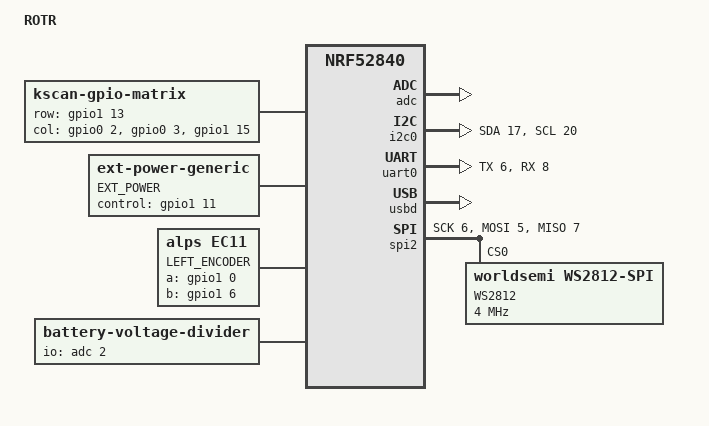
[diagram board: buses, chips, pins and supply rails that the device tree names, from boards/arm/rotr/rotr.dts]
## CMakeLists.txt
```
cmake_minimum_required(VERSION 3.13.1)

set(CONFIG_APPLICATION_DEFINED_SYSCALL true)

set(ZEPHYR_EXTRA_MODULES "${ZMK_EXTRA_MODULES};${CMAKE_CURRENT_SOURCE_DIR}/module;${CMAKE_CURRENT_SOURCE_DIR}/keymap-module")

# Find Zephyr. This also loads Zephyr's build system.
find_package(Zephyr REQUIRED HINTS ../zephyr)
project(zmk)

zephyr_linker_sources(SECTIONS include/linker/zmk-behaviors.ld)
zephyr_linker_sources(RODATA include/linker/zmk-events.ld)

if(CONFIG_ZMK_BEHAVIOR_LOCAL_IDS)
  zephyr_linker_sources(DATA_SECTIONS include/linker/zmk-behavior-local-id-map.ld)
endif()

zephyr_syscall_header(${APPLICATION_SOURCE_DIR}/include/drivers/behavior.h)
zephyr_syscall_header(${APPLICATION_SOURCE_DIR}/include/drivers/ext_power.h)

# Add your source file to the "app" target. This must come after
# find_package(Zephyr) which defines the target.
target_include_directories(app PRIVATE include)
target_sources(app PRIVATE src/stdlib.c)
target_sources(app PRIVATE src/activity.c)
target_sources(app PRIVATE src/behavior.c)
target_sources_ifdef(CONFIG_ZMK_KSCAN_SIDEBAND_BEHAVIORS app PRIVATE src/kscan_sideband_behaviors.c)
target_sources(app PRIVATE src/matrix_transform.c)
target_sources(app PRIVATE src/physical_layouts.c)
target_sources(app PRIVATE src/sensors.c)
target_sources_ifdef(CONFIG_ZMK_WPM app PRIVATE src/wpm.c)
target_sources(app PRIVATE src/event_manager.c)
target_sources_ifdef(CONFIG_ZMK_PM app PRIVATE src/pm.c)
target_sources_ifdef(CONFIG_ZMK_EXT_POWER app PRIVATE src/ext_power_generic.c)
target_sources_ifdef(CONFIG_ZMK_GPIO_KEY_WAKEUP_TRIGGER app PRIVATE src/gpio_key_wakeup_trigger.c)
target_sources(app PRIVATE src/events/activity_state_changed.c)
target_sources(app PRIVATE src/events/position_state_changed.c)
target_sources(app PRIVATE src/events/sensor_event.c)
target_sources(app PRIVATE src/events/mouse_button_state_changed.c)
target_sources_ifdef(CONFIG_ZMK_WPM app PRIVATE src/events/wpm_state_changed.c)
target_sources_ifdef(CONFIG_USB_DEVICE_STACK app PRIVATE src/events/usb_conn_state_changed.c)
target_sources(app PRIVATE src/behaviors/behavior_reset.c)
target_sources_ifdef(CONFIG_ZMK_EXT_POWER app PRIVATE src/behaviors/behavior_ext_power.c)
target_sources_ifdef(CONFIG_ZMK_BEHAVIOR_SOFT_OFF app PRIVATE src/behaviors/behavior_soft_off.c)
if ((NOT CONFIG_ZMK_SPLIT) OR CONFIG_ZMK_SPLIT_ROLE_CENTRAL)
  target_sources(app PRIVATE src/hid.c)
  target_sources_ifdef(CONFIG_ZMK_MOUSE app PRIVATE src/mouse.c)
  target_sources(app PRIVATE src/behaviors/behavior_key_press.c)
  target_sources_ifdef(CONFIG_ZMK_BEHAVIOR_KEY_TOGGLE app PRIVATE src/behaviors/behavior_key_toggle.c)
  target_sources_ifdef(CONFIG_ZMK_BEHAVIOR_HOLD_TAP app PRIVATE src/behaviors/behavior_hold_tap.c)
  target_sources_ifdef(CONFIG_ZMK_BEHAVIOR_STICKY_KEY app PRIVATE src/behaviors/behavior_sticky_key.c)
  target_sources(app PRIVATE src/behaviors/behavior_caps_word.c)
  target_sources(app PRIVATE src/behaviors/behavior_key_repeat.c)
  target_sources_ifdef(CONFIG_ZMK_BEHAVIOR_MACRO app PRIVATE src/behaviors/behavior_macro.c)
  target_sources(app PRIVATE src/behaviors/behavior_momentary_layer.c)
  target_sources(app PRIVATE src/behaviors/behavior_mod_morph.c)
  target_sources(app PRIVATE src/behaviors/behavior_outputs.c)
  target_sources(app PRIVATE src/behaviors/behavior_toggle_layer.c)
  target_sources(app PRIVATE src/behaviors/behavior_to_layer.c)
  target_sources(app PRIVATE src/behaviors/behavior_transparent.c)
  target_sources(app PRIVATE src/behaviors/behavior_none.c)
  target_sources_ifdef(CONFIG_ZMK_BEHAVIOR_SENSOR_ROTATE app PRIVATE src/behaviors/behavior_sensor_rotate.c)
  target_sources_ifdef(CONFIG_ZMK_BEHAVIOR_SENSOR_ROTATE_VAR app PRIVATE src/behaviors/behavior_sensor_rotate_var.c)
  target_sources_ifdef(CONFIG_ZMK_BEHAVIOR_SENSOR_ROTATE_COMMON app PRIVATE src/behaviors/behavior_sensor_rotate_common.c)
  target_sources_ifdef(CONFIG_ZMK_BEHAVIOR_MOUSE_KEY_PRESS app PRIVATE src/behaviors/behavior_mouse_key_press.c)
  target_sources_ifdef(CONFIG_ZMK_BEHAVIOR_STUDIO_UNLOCK app PRIVATE src/behaviors/behavior_studio_unlock.c)
  target_sources(app PRIVATE src/combo.c)
  target_sources(app PRIVATE src/behaviors/behavior_tap_dance.c)
  target_sources(app PRIVATE src/behavior_queue.c)
  target_sources(app PRIVATE src/conditional_layer.c)
  target_sources(app PRIVATE src/endpoints.c)
  target_sources(app PRIVATE src/events/endpoint_changed.c)
  target_sources(app PRIVATE src/hid_listener.c)
  target_sources(app PRIVATE src/keymap.c)
  target_sources(app PRIVATE src/events/layer_state_changed.c)
  target_sources(app PRIVATE src/events/modifiers_state_changed.c)
  target_sources(app PRIVATE src/events/keycode_state_changed.c)
  target_sources_ifdef(CONFIG_ZMK_HID_INDICATORS app PRIVATE src/hid_indicators.c)

  if (CONFIG_ZMK_BLE)
    target_sources(app PRIVATE src/events/ble_active_profile_changed.c)
    target_sources(app PRIVATE src/behaviors/behavior_bt.c)
    target_sources(app PRIVATE src/ble.c)
    target_sources(app PRIVATE src/hog.c)
  endif()
endif()

target_sources_ifdef(CONFIG_ZMK_RGB_UNDERGLOW app PRIVATE src/behaviors/behavior_rgb_underglow.c)
target_sources_ifdef(CONFIG_ZMK_BACKLIGHT app PRIVATE src/behaviors/behavior_backlight.c)
target_sources_ifdef(CONFIG_ZMK_STP_INDICATORS app PRIVATE src/behaviors/behavior_stp_indicators.c)

target_sources_ifdef(CONFIG_ZMK_BATTERY_REPORTING app PRIVATE src/events/battery_state_changed.c)
target_sources_ifdef(CONFIG_ZMK_BATTERY_REPORTING app PRIVATE src/battery.c)

target_sources_ifdef(CONFIG_ZMK_HID_INDICATORS app PRIVATE src/events/hid_indicators_changed.c)

target_sources_ifdef(CONFIG_ZMK_SPLIT app PRIVATE src/events/split_peripheral_status_changed.c)
add_subdirectory(src/split)

target_sources_ifdef(CONFIG_USB_DEVICE_STACK app PRIVATE src/usb.c)
target_sources_ifdef(CONFIG_ZMK_USB app PRIVATE src/usb_hid.c)
target_sources_ifdef(CONFIG_ZMK_RGB_UNDERGLOW app PRIVATE src/rgb_underglow.c)
target_sources_ifdef(CONFIG_ZMK_BACKLIGHT app PRIVATE src/backlight.c)
target_sources_ifdef(CONFIG_ZMK_LOW_PRIORITY_WORK_QUEUE app PRIVATE src/workqueue.c)
target_sources_ifdef(CONFIG_ZMK_PROFILESWITCH app PRIVATE src/profile_switch.c)

target_sources_ifdef(CONFIG_ZMK_STP_INDICATORS app PRIVATE src/stp_indicators.c)
target_sources(app PRIVATE src/main.c)

add_subdirectory(src/display/)
add_subdirectory_ifdef(CONFIG_SETTINGS src/settings/)

if (CONFIG_ZMK_STUDIO_RPC)
  # For some reason this is failing if run from a different sub-file.
  list(APPEND CMAKE_MODULE_PATH ${ZEPHYR_BASE}/modules/nanopb)

  include(nanopb)

    # Turn off the default nanopb behavior
  set(NANOPB_GENERATE_CPP_STANDALONE OFF)

  nanopb_generate_cpp(proto_srcs proto_hdrs RELPATH ${ZEPHYR_ZMK_STUDIO_MESSAGES_MODULE_DIR}
                        ${ZEPHYR_ZMK_STUDIO_MESSAGES_MODULE_DIR}/proto/zmk/studio.proto
                        ${ZEPHYR_ZMK_STUDIO_MESSAGES_MODULE_DIR}/proto/zmk/meta.proto
                        ${ZEPHYR_ZMK_STUDIO_MESSAGES_MODULE_DIR}/proto/zmk/core.proto
                        ${ZEPHYR_ZMK_STUDIO_MESSAGES_MODULE_DIR}/proto/zmk/behaviors.proto
                        ${ZEPHYR_ZMK_STUDIO_MESSAGES_MODULE_DIR}/proto/zmk/keymap.proto
  )

  target_include_directories(app PUBLIC ${CMAKE_CURRENT_BINARY_DIR})
  target_sources(app PRIVATE ${proto_srcs} ${proto_hdrs})

  add_subdirectory(src/studio)
endif()

zephyr_cc_option(-Wfatal-errors)
```

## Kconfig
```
# Copyright (c) 2020 The ZMK Contributors
# SPDX-License-Identifier: MIT

mainmenu "ZMK Firmware"

menu "ZMK"

menu "Basic Keyboard Setup"

config ZMK_KEYBOARD_NAME
    string "Keyboard Name"

config USB_DEVICE_PRODUCT
    default ZMK_KEYBOARD_NAME

config BT_DEVICE_NAME
    default ZMK_KEYBOARD_NAME

config USB_DEVICE_VID
    default 0x1D50

config USB_DEVICE_PID
    default 0x615E

config USB_DEVICE_MANUFACTURER
    default "ZMK Project"

config BT_DIS_PNP_VID
    default 0x1D50

config BT_DIS_PNP_PID
    default 0x615E

config BT_DIS_MODEL
    default ZMK_KEYBOARD_NAME

config BT_DIS_MANUF
    default "ZMK Project"

# Hardware specific overrides

if SOC_SERIES_NRF52X

# Default on for our usage until boards implement retained bootmode.
config NRF_STORE_REBOOT_TYPE_GPREGRET
    bool
    default y

endif

menu "HID"

choice ZMK_HID_REPORT_TYPE
    prompt "HID Report Type"

config ZMK_HID_REPORT_TYPE_HKRO
    bool "#-Key Roll Over (HKRO) HID Report"
    help
      Enable # key roll over for HID report. This selection is "boot keyboard" compatible
      but limits the total number of possible keys to report as held to #.

config ZMK_HID_REPORT_TYPE_NKRO
    bool "Full N-Key Roll Over (NKRO) HID Report"
    help
      Enable full N-Key Roll Over for HID output. This selection will prevent the keyboard
      from working with some BIOS/UEFI versions that only support "boot keyboard" support.
      This option also prevents using some infrequently used higher range HID usages (notably F13-F24 and INTL1-9)
      These usages can be re enabled with ZMK_HID_KEYBOARD_NKRO_EXTENDED_REPORT.

endchoice

config ZMK_HID_KEYBOARD_NKRO_EXTENDED_REPORT
    bool "Enable extended NKRO reporting"
    depends on ZMK_HID_REPORT_TYPE_NKRO
    help
      Enables higher usage range for NKRO (F13-F24 and INTL1-9).
      Please note this is not compatible with Android currently and you will get no input


if ZMK_HID_REPORT_TYPE_HKRO

config ZMK_HID_KEYBOARD_REPORT_SIZE
    int "# Keyboard Keys Reportable"
    default 6

endif

config ZMK_HID_CONSUMER_REPORT_SIZE
    int "# Consumer Keys Reportable"
    default 6


choice ZMK_HID_CONSUMER_REPORT_USAGES
    prompt "HID Report Type"

config ZMK_HID_CONSUMER_REPORT_USAGES_FULL
    bool "Full Consumer HID Usage Support"
    help
      Enable full Consumer usage ID values to be sent to hosts. Allows for less
      frequently used usages, but has compatibability issues with some host OSes.

config ZMK_HID_CONSUMER_REPORT_USAGES_BASIC
    bool "Basic Consumer HID Usage Support"
    help
      Enable Consumer usage ID values up to "Playback Speed - Slow" to be sent to
      hosts. Allows for broader compatibability with more host OSes.

endchoice

config ZMK_HID_INDICATORS
    bool "HID Indicators"
    help
      Enable HID indicators, used for detecting state of Caps/Scroll/Num Lock,
      Kata, and Compose.

config ZMK_HID_SEPARATE_MOD_RELEASE_REPORT
    bool "Release Modifiers Separately"
    help
      Send a separate release event for the modifiers, to make sure the release
      of the modifier doesn't get recognized before the actual key's release event.

menu "Output Types"

config ZMK_USB
    bool "USB"
    depends on (!ZMK_SPLIT || (ZMK_SPLIT && ZMK_SPLIT_ROLE_CENTRAL))
    select USB
    select USB_DEVICE_STACK
    select USB_DEVICE_HID

config ZMK_USB_BOOT
    bool "USB Boot Protocol Support"
    depends on ZMK_USB
    select USB_HID_BOOT_PROTOCOL
    select USB_DEVICE_SOF

if ZMK_USB

config USB_NUMOF_EP_WRITE_RETRIES
    default 10

config USB_HID_POLL_INTERVAL_MS
    default 1

#ZMK_USB
endif

menuconfig ZMK_BLE
    bool "BLE (HID over GATT)"
    select BT
    select BT_SMP
    select BT_SMP_SC_PAIR_ONLY
    select BT_SMP_APP_PAIRING_ACCEPT
    select BT_PERIPHERAL
    select BT_DIS
    imply BT_DEVICE_NAME_DYNAMIC
    imply BT_SETTINGS if !ARCH_POSIX
    imply SETTINGS if !ARCH_POSIX
    imply ZMK_BATTERY_REPORTING if !ARCH_POSIX

if ZMK_BLE

config ZMK_BLE_EXPERIMENTAL_CONN
    bool "Experimental BLE connection changes"
    help
      Enables a combination of settings that are planned to be default in future versions of ZMK
      to improve connection stability. This includes changes to timing on BLE pairing initiation,
      restores use of the updated/new LLCP implementation, and disables 2M PHY support.

config ZMK_BLE_EXPERIMENTAL_SEC
    bool "Experimental BLE security changes"
    imply BT_SMP_ALLOW_UNAUTH_OVERWRITE
    help
      Enables a combination of settings that are planned to be officially supported in the future.
      This includes enabling BT Secure Connection passkey entry, and allows overwrite of keys from
      previously paired hosts.

config ZMK_BLE_EXPERIMENTAL_FEATURES
    bool "Experimental BLE connection and security settings/features"
    select ZMK_BLE_EXPERIMENTAL_CONN
    select ZMK_BLE_EXPERIMENTAL_SEC
    help
      Enables experimental connection changes and security features.

config ZMK_BLE_PASSKEY_ENTRY
    bool "Require passkey entry on the keyboard to complete pairing"
    select RING_BUFFER

config BT_SMP_ALLOW_UNAUTH_OVERWRITE
    imply ZMK_BLE_PASSKEY_ENTRY

config BT_CTLR_PHY_2M
    default n if ZMK_BLE_EXPERIMENTAL_CONN

# BT_TINYCRYPT_ECC is required for BT_SMP_SC_PAIR_ONLY when using HCI
config BT_TINYCRYPT_ECC
    default y if BT_HCI && !BT_CTLR

config SYSTEM_WORKQUEUE_STACK_SIZE
    default 4096 if SOC_RP2040
    default 2048

config ZMK_BLE_THREAD_STACK_SIZE
    int "BLE notify thread stack size"
    default 768

config ZMK_BLE_THREAD_PRIORITY
    int "BLE notify thread priority"
    default 5

config ZMK_BLE_KEYBOARD_REPORT_QUEUE_SIZE
    int "Max number of keyboard HID reports to queue for sending over BLE"
    default 20

config ZMK_BLE_CONSUMER_REPORT_QUEUE_SIZE
    int "Max number of consumer HID reports to queue for sending over BLE"
    default 5

config ZMK_BLE_MOUSE_REPORT_QUEUE_SIZE
    int "Max number of mouse HID reports to queue for sending over BLE"
    default 20

config ZMK_BLE_CLEAR_BONDS_ON_START
    bool "Configuration that clears all bond information from the keyboard on startup."

# HID GATT notifications sent this way are *not* picked up by Linux, and possibly others.
config BT_GATT_NOTIFY_MULTIPLE
    default n

config BT_GATT_AUTO_SEC_REQ
    default (ZMK_SPLIT_BLE && !ZMK_SPLIT_ROLE_CENTRAL)

config BT_DEVICE_APPEARANCE
    default 961

config BT_PERIPHERAL_PREF_MIN_INT
    default 6

config BT_PERIPHERAL_PREF_MAX_INT
    default 12

config BT_PERIPHERAL_PREF_LATENCY
    default 30

config BT_PERIPHERAL_PREF_TIMEOUT
    default 400

config ZMK_PROFILESWITCH
    bool "Enable two state profile switch"
    default n

#ZMK_BLE
endif

#Output Types
endmenu

# HID
endmenu

rsource "src/split/Kconfig"

#Basic Keyboard Setup
endmenu

menu "Keymaps"

config ZMK_KEYMAP_LAYER_REORDERING
    bool "Layer Reordering Support"

config ZMK_KEYMAP_SETTINGS_STORAGE
    bool "Settings Save/Load"
    depends on SETTINGS
    depends on ZMK_BEHAVIOR_LOCAL_IDS

if ZMK_KEYMAP_SETTINGS_STORAGE

config ZMK_KEYMAP_LAYER_NAME_MAX_LEN
    int "Max Layer Name Length"
    default 20

endif

endmenu # Keymaps

rsource "src/studio/Kconfig"

menu "Display/LED Options"

rsource "src/display/Kconfig"

menuconfig ZMK_RGB_UNDERGLOW
    bool "RGB Addressable LED Underglow"
    select LED_STRIP
    select ZMK_LOW_PRIORITY_WORK_QUEUE

if ZMK_RGB_UNDERGLOW

# This default value cuts down on tons of excess .conf files, if you're using GPIO, manually disable this
config SPI
    default y

config ZMK_RGB_UNDERGLOW_EXT_POWER
    bool "RGB underglow toggling also controls external power"
    default y

config ZMK_RGB_UNDERGLOW_BRT_MIN
    int "RGB underglow minimum brightness in percent"
    range 0 100
    default 0

config ZMK_RGB_UNDERGLOW_BRT_MAX
    int "RGB underglow maximum brightness in percent"
    range ZMK_RGB_UNDERGLOW_BRT_MIN 100
    default 100

config ZMK_RGB_UNDERGLOW_HUE_STEP
    int "RGB underglow hue step in degrees"
    range 0 359
    default 10

config ZMK_RGB_UNDERGLOW_SAT_STEP
    int "RGB underglow saturation step in percent"
    range 0 100
    default 10

config ZMK_RGB_UNDERGLOW_BRT_STEP
    int "RGB underglow brightness step in percent"
    range 0 100
    default 10

config ZMK_RGB_UNDERGLOW_HUE_START
    int "RGB underglow start hue value in degrees"
    range 0 359
    default 0

config ZMK_RGB_UNDERGLOW_SAT_START
    int "RGB underglow start saturations value in percent"
    range 0 100
    default 100

config ZMK_RGB_UNDERGLOW_BRT_START
    int "RGB underglow start brightness value in percent"
    range ZMK_RGB_UNDERGLOW_BRT_MIN ZMK_RGB_UNDERGLOW_BRT_MAX
    default ZMK_RGB_UNDERGLOW_BRT_MAX

config ZMK_RGB_UNDERGLOW_SPD_START
    int "RGB underglow start animation speed value"
    range 1 5
    default 3

config ZMK_RGB_UNDERGLOW_EFF_START
    int "RGB underglow start effect int value related to the effect enum list"
    range 0 3
    default 0

config ZMK_RGB_UNDERGLOW_ON_START
    bool "RGB underglow starts on by default"
    default y

config ZMK_RGB_UNDERGLOW_AUTO_OFF_IDLE
    bool "Turn off RGB underglow when keyboard goes into idle state"

config ZMK_RGB_UNDERGLOW_AUTO_OFF_USB
    bool "Turn off RGB underglow when USB is disconnected"
    depends on USB_DEVICE_STACK

#ZMK_RGB_UNDERGLOW
endif

menuconfig ZMK_STP_INDICATORS
    bool "STP Specific indicators"
    select LED_STRIP
    select ZMK_LOW_PRIORITY_WORK_QUEUE
    select ZMK_HID_INDICATORS

if ZMK_STP_INDICATORS

# This default value cuts down on tons of excess .conf files, if you're using GPIO, manually disable this
config SPI
    default y

config ZMK_STP_INDICATORS_BRT_MAX
    int "RGB underglow maximum brightness in percent"
    range 0 100
    default 100

endif

menuconfig ZMK_BACKLIGHT
    bool "LED backlight"
    select LED

if ZMK_BACKLIGHT

config ZMK_BACKLIGHT_BRT_STEP
    int "Brightness step in percent"
    range 1 100
    default 20

config ZMK_BACKLIGHT_BRT_START
    int "Default brightness in percent"
    range 1 100
    default 40

config ZMK_BACKLIGHT_ON_START
    bool "Default backlight state"
    default y

config ZMK_BACKLIGHT_AUTO_OFF_IDLE
    bool "Turn off backlight when keyboard goes into idle state"

config ZMK_BACKLIGHT_AUTO_OFF_USB
    bool "Turn off backlight when USB is disconnected"

#ZMK_BACKLIGHT
endif

#Display/LED Options
endmenu

menu "Mouse Options"

config ZMK_MOUSE
    bool "Enable ZMK mouse emulation"

config ZMK_TRACKPAD
    bool "trackpad mode"

config ZMK_TRACKPAD_REVERSE_SCROLL
    bool "Reverse Scroll Direction"

#Mouse Options
endmenu

menu "Power Management"

config ZMK_BATTERY_REPORTING
    bool "Battery level detection/reporting"
    select SENSOR
    select ZMK_LOW_PRIORITY_WORK_QUEUE
    imply BT_BAS if ZMK_BLE

if ZMK_BATTERY_REPORTING

choice ZMK_BATTERY_REPORTING_FETCH_MODE
    prompt "Battery Reporting Fetch Mode"

config ZMK_BATTERY_REPORTING_FETCH_MODE_STATE_OF_CHARGE
    bool "State of charge"

config ZMK_BATTERY_REPORTING_FETCH_MODE_LITHIUM_VOLTAGE
    bool "Lithium Voltage"

endchoice
endif

config ZMK_IDLE_TIMEOUT
    int "Milliseconds of inactivity before entering idle state (OLED shutoff, etc)"
    default 30000

config ZMK_SLEEP
    bool "Enable deep sleep support"
    depends on HAS_POWEROFF
    select POWEROFF
    select ZMK_PM_DEVICE_SUSPEND_RESUME
    imply USB

if ZMK_SLEEP

config PM_DEVICE
    default y

config ZMK_IDLE_SLEEP_TIMEOUT
    int "Milliseconds of inactivity before entering deep sleep"
    default 900000

#ZMK_SLEEP
endif

config ZMK_EXT_POWER
    bool "Enable support to control external power output"
    default y

config ZMK_PM
    bool

config ZMK_PM_DEVICE_SUSPEND_RESUME
    bool
    select ZMK_PM

config ZMK_PM_SOFT_OFF
    bool "Soft-off support"
    depends on HAS_POWEROFF
    select ZMK_PM
    select PM_DEVICE
    select ZMK_PM_DEVICE_SUSPEND_RESUME
    select POWEROFF

config ZMK_GPIO_KEY_WAKEUP_TRIGGER
    bool "Hardware supported wakeup (GPIO)"
    default y
    depends on DT_HAS_ZMK_GPIO_KEY_WAKEUP_TRIGGER_ENABLED && ZMK_PM_SOFT_OFF

#Power Management
endmenu

menu "Combo options"

config ZMK_COMBO_MAX_PRESSED_COMBOS
    int "Maximum number of currently pressed combos"
    default 4

config ZMK_COMBO_MAX_COMBOS_PER_KEY
    int "Maximum number of combos per key"
    default 5

config ZMK_COMBO_MAX_KEYS_PER_COMBO
    int "Maximum number of keys per combo"
    default 4

#Combo options
endmenu

menu "Behavior Options"

config ZMK_BEHAVIORS_QUEUE_SIZE
    int "Maximum number of behaviors to allow queueing from a macro or other complex behavior"
    default 64

rsource "Kconfig.behaviors"

config ZMK_MACRO_DEFAULT_WAIT_MS
    int "Default time to wait (in milliseconds) before triggering the next behavior in macros"
    default 15

config ZMK_MACRO_DEFAULT_TAP_MS
    int "Default time to wait (in milliseconds) between the press and release events of a tapped behavior in macros"
    default 30

endmenu

menu "Advanced"

menu "Initialization Priorities"

if USB_DEVICE_STACK

config ZMK_USB_INIT_PRIORITY
    int "USB Init Priority"
    default 94

config ZMK_USB_HID_INIT_PRIORITY
    int "USB HID Init Priority"
    default 95

#USB
endif

if ZMK_BLE || ZMK_SPLIT_BLE

config ZMK_BLE_INIT_PRIORITY
    int "BLE Init Priority"
    default 50

#ZMK_BLE || ZMK_SPLIT_BLE
endif

#Initialization Priorities
endmenu

menuconfig ZMK_KSCAN
    bool "ZMK KScan Integration"
    default y
    select KSCAN

if ZMK_KSCAN

config ZMK_KSCAN_EVENT_QUEUE_SIZE
    int "Size of the event queue for KSCAN events to buffer events"
    default 4

endif # ZMK_KSCAN

config ZMK_KSCAN_SIDEBAND_BEHAVIORS
    bool
    default y
    depends on DT_HAS_ZMK_KSCAN_SIDEBAND_BEHAVIORS_ENABLED
    select KSCAN

if ZMK_KSCAN_SIDEBAND_BEHAVIORS

config ZMK_KSCAN_SIDEBAND_BEHAVIORS_INIT_PRIORITY
    int "Keyboard scan sideband behaviors driver init priority"
    # The default kscan init priority is 90, so be sure we are initialized later.
    default 95

endif # ZMK_KSCAN_SIDEBAND_BEHAVIORS

menu "Logging"

config ZMK_LOGGING_MINIMAL
    bool "Suppress all ZMK debug log messages"
    default false

if !ZMK_LOGGING_MINIMAL

config ZMK_LOG_LEVEL
    default 4

endif

config ZMK_USB_LOGGING
    bool "Enable USB CDC ACM logging to help debug"
    select LOG
    select USB
    select USB_DEVICE_STACK
    select USB_CDC_ACM
    select SERIAL
    select CONSOLE
    select UART_INTERRUPT_DRIVEN
    select UART_LINE_CTRL
    select UART_CONSOLE
    select USB_UART_CONSOLE

if ZMK_USB_LOGGING

choice USB_CDC_ACM_LOG_LEVEL_CHOICE
    default USB_CDC_ACM_LOG_LEVEL_OFF
endchoice

choice USB_DRIVER_LOG_LEVEL_CHOICE
    default USB_DRIVER_LOG_LEVEL_OFF
endchoice

# We do this to avoid log loop where logging to USB generates more log messages.

config USB_CDC_ACM_RINGBUF_SIZE
    default 1024

config LOG_PROCESS_THREAD_STARTUP_DELAY_MS
    default 1000

#ZMK_USB_LOGGING
endif

config ZMK_RTT_LOGGING
    bool "Enable RTT logging to help debug"
    select LOG
    select DEBUG
    select ASSERT
    select USE_SEGGER_RTT
    select CONSOLE
    select RTT_CONSOLE

if ZMK_RTT_LOGGING

config SEGGER_RTT_BUFFER_SIZE_UP
    default 8192

#ZMK_RTT_LOGGING
endif

if ZMK_USB_LOGGING || ZMK_RTT_LOGGING

config LOG_BUFFER_SIZE
    default 8192

config LOG_PROCESS_THREAD_SLEEP_MS
    default 100

#ZMK_USB_LOGGING || ZMK_RTT_LOGGING
endif

#Logging
endmenu

if SETTINGS

config ZMK_SETTINGS_RESET_ON_START
    bool "Delete all persistent settings when the keyboard boots"

if ZMK_SETTINGS_RESET_ON_START

config ZMK_SETTINGS_RESET_ON_START_INIT_PRIORITY
    int "Settings Reset ON Start Initialization Priority"
    default 60
    help
      Initialization priority for the settings reset on start. Must be lower priority/
      higher value than FLASH_INIT_PRIORITY if using the NVS/Flash settings backend.


endif


config ZMK_SETTINGS_SAVE_DEBOUNCE
    int "Milliseconds to debounce settings saves"
    default 60000

#SETTINGS
endif

config ZMK_BATTERY_REPORT_INTERVAL
    depends on ZMK_BATTERY_REPORTING
    int "Battery level report interval in seconds"
    default 60

config ZMK_LOW_PRIORITY_WORK_QUEUE
    bool "Work queue for low priority items"

if ZMK_LOW_PRIORITY_WORK_QUEUE

config ZMK_LOW_PRIORITY_THREAD_STACK_SIZE
    int "Low priority thread stack size"
    default 1024

config ZMK_LOW_PRIORITY_THREAD_PRIORITY
    int "Low priority thread priority"
    default 10

endif

#Advanced
endmenu

#ZMK
endmenu

config KERNEL_BIN_NAME
    default "zmk"

config REBOOT
    default y

config USB_DEVICE_STACK
    default y if HAS_HW_NRF_USBD

config FPU
    default CPU_HAS_FPU

config ZMK_WPM
    bool "Calculate WPM"

config ZMK_KEYMAP_SENSORS
    bool "Enable Keymap Sensors support"
    default y
    depends on DT_HAS_ZMK_KEYMAP_SENSORS_ENABLED
    select SENSOR

if ZMK_KEYMAP_SENSORS

config ZMK_KEYMAP_SENSORS_DEFAULT_TRIGGERS_PER_ROTATION
    int "Default triggers per rotation"
    help
      Unless overridden for a sensor in the board/shield/devicetree, this value
      determines how many times to trigger the bound behavior per full rotation.
      For tactile encoders with detents, this usually should match the number of
      detents per rotation of the encoder.
    default 20

endif # ZMK_KEYMAP_SENSORS

choice CBPRINTF_IMPLEMENTATION
    default CBPRINTF_NANO

endchoice

module = ZMK
module-str = zmk
source "subsys/logging/Kconfig.template.log_config"

rsource "boards/Kconfig"
rsource "boards/shields/*/Kconfig.defconfig"
rsource "boards/shields/*/Kconfig.shield"

osource "$(ZMK_CONFIG)/boards/shields/*/Kconfig.defconfig"
osource "$(ZMK_CONFIG)/boards/shields/*/Kconfig.shield"


source "Kconfig.zephyr"
```

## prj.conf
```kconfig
# Turn on logging, and set ZMK logging to debug output
CONFIG_ZMK_USB_LOGGING=y
```

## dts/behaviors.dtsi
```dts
#include <behaviors/key_press.dtsi>
#include <behaviors/key_toggle.dtsi>
#include <behaviors/transparent.dtsi>
#include <behaviors/none.dtsi>
#include <behaviors/mod_tap.dtsi>
#include <behaviors/layer_tap.dtsi>
#include <behaviors/gresc.dtsi>
#include <behaviors/sticky_key.dtsi>
#include <behaviors/momentary_layer.dtsi>
#include <behaviors/toggle_layer.dtsi>
#include <behaviors/to_layer.dtsi>
#include <behaviors/reset.dtsi>
#include <behaviors/sensor_rotate_key_press.dtsi>
#include <behaviors/rgb_underglow.dtsi>
#include <behaviors/bluetooth.dtsi>
#include <behaviors/ext_power.dtsi>
#include <behaviors/outputs.dtsi>
#include <behaviors/caps_word.dtsi>
#include <behaviors/key_repeat.dtsi>
#include <behaviors/backlight.dtsi>
#include <behaviors/macros.dtsi>
#include <behaviors/mouse_key_press.dtsi>
#include <behaviors/soft_off.dtsi>
#include <behaviors/studio_unlock.dtsi>
#include <behaviors/stp_indicators.dtsi>
```

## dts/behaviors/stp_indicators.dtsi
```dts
/ {
    behaviors {
        stp: behavior_stp_indicators {
            compatible = "zmk,behavior-stp-indicators";
            display-name = "Battery Level";
            #binding-cells = <1>;
        };
    };
};
```

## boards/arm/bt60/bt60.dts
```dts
/*
 * Copyright (c) 2021 Polarity Works
 *
 * SPDX-License-Identifier: MIT
 */

/dts-v1/;
#include <nordic/nrf52840_qiaa.dtsi>
#include <dt-bindings/zmk/matrix_transform.h>

/ {
	model = "BT60";
	compatible = "bt60";

	chosen {
		zephyr,code-partition = &code_partition;
		zephyr,sram = &sram0;
		zephyr,flash = &flash0;
		zmk,kscan = &kscan0;
		zmk,matrix_transform = &default_transform;
	};

	default_transform: keymap_transform_0 {
		compatible = "zmk,matrix-transform";
		columns = <14>;
		rows = <5>;
		map = <
			RC(0,0) RC(0,1) RC(0,2) RC(0,3) RC(0,4) RC(0,5) RC(0,6) RC(0,7) RC(0,8) RC(0,9) RC(0,10) RC(0,11) RC(0,12)     RC(0,13)
			RC(1,0)   RC(1,1) RC(1,2) RC(1,3) RC(1,4) RC(1,5) RC(1,6) RC(1,7) RC(1,8) RC(1,9) RC(1,10) RC(1,11) RC(1,12)   RC(1,13)
			RC(2,0)     RC(2,1) RC(2,2) RC(2,3) RC(2,4) RC(2,5) RC(2,6) RC(2,7) RC(2,8) RC(2,9) RC(2,10) RC(2,11)          RC(2,12)
			RC(3,0)       RC(3,1) RC(3,2) RC(3,3) RC(3,4) RC(3,5) RC(3,6) RC(3,7) RC(3,8) RC(3,9)    RC(3,10)     RC(3,11)
			RC(4,0)   RC(4,1)   RC(4,2)                      RC(4,5)                     RC(4,8)   RC(4,9)    RC(4,10)     RC(4,11)
		>;
	};


	kscan0: kscan_0 {
		compatible = "zmk,kscan-gpio-matrix";
		label = "KSCAN";
		diode-direction = "col2row";

		col-gpios
			= <&gpio1 11 GPIO_ACTIVE_HIGH>
			, <&gpio1 10 GPIO_ACTIVE_HIGH>
			, <&gpio1 13 GPIO_ACTIVE_HIGH>
			, <&gpio1 15 GPIO_ACTIVE_HIGH>
			, <&gpio0 3 GPIO_ACTIVE_HIGH>
			, <&gpio0 2 GPIO_ACTIVE_HIGH>
			, <&gpio0 28 GPIO_ACTIVE_HIGH>
			, <&gpio0 29 GPIO_ACTIVE_HIGH>
			, <&gpio0 30 GPIO_ACTIVE_HIGH>
			, <&gpio0 31 GPIO_ACTIVE_HIGH>
			, <&gpio0 5 GPIO_ACTIVE_HIGH>
			, <&gpio0 7 GPIO_ACTIVE_HIGH>
			, <&gpio1 9 GPIO_ACTIVE_HIGH>
			, <&gpio0 12 GPIO_ACTIVE_HIGH>
			;

		row-gpios
			= <&gpio1 0 (GPIO_ACTIVE_HIGH | GPIO_PULL_DOWN)>
			, <&gpio0 22 (GPIO_ACTIVE_HIGH | GPIO_PULL_DOWN)>
			, <&gpio0 19 (GPIO_ACTIVE_HIGH | GPIO_PULL_DOWN)>
			, <&gpio0 21 (GPIO_ACTIVE_HIGH | GPIO_PULL_DOWN)>
			, <&gpio0 23 (GPIO_ACTIVE_HIGH | GPIO_PULL_DOWN)>
			;
	};

	leds {
		compatible = "gpio-leds";
		blue_led: led_0 {
			gpios = <&gpio0 15 GPIO_ACTIVE_HIGH>;
			label = "Blue LED";
		};
	};

	vbatt {
		compatible = "zmk,battery-voltage-divider";
		label = "BATTERY";
		io-channels = <&adc 2>;
		output-ohms = <2000000>;
		full-ohms = <(2000000 + 806000)>;
	};
};

&adc {
	status = "okay";
};

&gpiote {
	status = "okay";
};

&gpio0 {
	status = "okay";
};

&gpio1 {
	status = "okay";
};

&i2c0 {
	compatible = "nordic,nrf-twi";
	sda-pin = <17>;
	scl-pin = <20>;
};

&uart0 {
	compatible = "nordic,nrf-uarte";
	tx-pin = <6>;
	rx-pin = <8>;
};

&usbd {
	status = "okay";
};


&flash0 {
	/*
	 * For more information, see:
	 * http://docs.zephyrproject.org/latest/devices/dts/flash_partitions.html
	 */
	partitions {
		compatible = "fixed-partitions";
		#address-cells = <1>;
		#size-cells = <1>;

		sd_partition: partition@0 {
			label = "softdevice";
			reg = <0x00000000 0x00026000>;
		};
		code_partition: partition@26000 {
			label = "code_partition";
			reg = <0x00026000 0x000c6000>;
		};

		/*
		 * The flash starting at 0x000ec000 and ending at
		 * 0x000f3fff is reserved for use by the application.
		 */

		/*
		 * Storage partition will be used by FCB/LittleFS/NVS
		 * if enabled.
		 */
		storage_partition: partition@ec000 {
			label = "storage";
			reg = <0x000ec000 0x00008000>;
		};

		boot_partition: partition@f4000 {
			label = "adafruit_boot";
			reg = <0x000f4000 0x0000c000>;
		};
	};
};
```

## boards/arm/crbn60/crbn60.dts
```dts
/*
 * Copyright (c) 2021 Polarity Works
 *
 * SPDX-License-Identifier: MIT
 */

/dts-v1/;
#include <nordic/nrf52840_qiaa.dtsi>

/ {
	model = "crbn60";
	compatible = "crbn60";

	chosen {
		zephyr,code-partition = &code_partition;
		zephyr,sram = &sram0;
		zephyr,flash = &flash0;
    zmk,kscan = &kscan0;
	};

  kscan0: kscan_0 {
		compatible = "zmk,kscan-gpio-matrix";
		label = "KSCAN";
		diode-direction = "col2row";

		col-gpios
			= <&gpio1 11 GPIO_ACTIVE_HIGH>
			, <&gpio1 10 GPIO_ACTIVE_HIGH>
			, <&gpio1 13 GPIO_ACTIVE_HIGH>
			, <&gpio1 15 GPIO_ACTIVE_HIGH>
			, <&gpio0 3 GPIO_ACTIVE_HIGH>
			, <&gpio0 2 GPIO_ACTIVE_HIGH>
			, <&gpio0 28 GPIO_ACTIVE_HIGH>
			, <&gpio0 29 GPIO_ACTIVE_HIGH>
			, <&gpio0 30 GPIO_ACTIVE_HIGH>
			, <&gpio0 31 GPIO_ACTIVE_HIGH>
			, <&gpio0 5 GPIO_ACTIVE_HIGH>
			, <&gpio0 7 GPIO_ACTIVE_HIGH>
      , <&gpio1 9 GPIO_ACTIVE_HIGH>
			, <&gpio0 12 GPIO_ACTIVE_HIGH>
			;

		row-gpios
			= <&gpio1 0 (GPIO_ACTIVE_HIGH | GPIO_PULL_DOWN)>
			, <&gpio0 22 (GPIO_ACTIVE_HIGH | GPIO_PULL_DOWN)>
			, <&gpio0 19 (GPIO_ACTIVE_HIGH | GPIO_PULL_DOWN)>
			, <&gpio0 21 (GPIO_ACTIVE_HIGH | GPIO_PULL_DOWN)>
      , <&gpio1 23 (GPIO_ACTIVE_HIGH | GPIO_PULL_DOWN)>
			;
	};

	leds {
		compatible = "gpio-leds";
		blue_led: led_0 {
			gpios = <&gpio0 15 GPIO_ACTIVE_HIGH>;
			label = "Blue LED";
		};
	};

	vbatt {
		compatible = "zmk,battery-voltage-divider";
		label = "BATTERY";
		io-channels = <&adc 2>;
		output-ohms = <2000000>;
		full-ohms = <(2000000 + 806000)>;
	};
};

&adc {
	status = "okay";
};

&gpiote {
	status = "okay";
};

&gpio0 {
	status = "okay";
};

&gpio1 {
	status = "okay";
};

&i2c0 {
	compatible = "nordic,nrf-twi";
	sda-pin = <17>;
	scl-pin = <20>;
};

&uart0 {
	compatible = "nordic,nrf-uarte";
	tx-pin = <6>;
	rx-pin = <8>;
};

&usbd {
	status = "okay";
};


&flash0 {
	/*
	 * For more information, see:
	 * http://docs.zephyrproject.org/latest/devices/dts/flash_partitions.html
	 */
	partitions {
		compatible = "fixed-partitions";
		#address-cells = <1>;
		#size-cells = <1>;

		sd_partition: partition@0 {
			label = "softdevice";
			reg = <0x00000000 0x00026000>;
		};
		code_partition: partition@26000 {
			label = "code_partition";
			reg = <0x00026000 0x000c6000>;
		};

		/*
		 * The flash starting at 0x000ec000 and ending at
		 * 0x000f3fff is reserved for use by the application.
		 */

		/*
		 * Storage partition will be used by FCB/LittleFS/NVS
		 * if enabled.
		 */
		storage_partition: partition@ec000 {
			label = "storage";
			reg = <0x000ec000 0x00008000>;
		};

		boot_partition: partition@f4000 {
			label = "adafruit_boot";
			reg = <0x000f4000 0x0000c000>;
		};
	};
};
```

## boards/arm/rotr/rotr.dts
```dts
/*
	* Copyright (c) 2021 Polarity Works
 *
 * SPDX-License-Identifier: MIT
 */

/dts-v1/;
#include <nordic/nrf52840_qiaa.dtsi>

/ {
	model = "ROTR";
	compatible = "rotr";

	chosen {
		zephyr,sram = &sram0;
		zephyr,flash = &flash0;
		zmk,kscan = &kscan0;
		zmk,underglow = &led_strip;
		zephyr,code-partition = &code_partition;
	};

	kscan0: kscan {
		compatible = "zmk,kscan-gpio-matrix";
		label = "KSCAN";
		diode-direction = "col2row";

		row-gpios
			= <&gpio1 13 (GPIO_ACTIVE_HIGH | GPIO_PULL_DOWN)>
		;
		col-gpios
			= <&gpio0 2 GPIO_ACTIVE_HIGH>
			, <&gpio0 3 GPIO_ACTIVE_HIGH>
			, <&gpio1 15  GPIO_ACTIVE_HIGH>
		;
	};

	ext-power {
		compatible = "zmk,ext-power-generic";
		label = "EXT_POWER";
		control-gpios = <&gpio1 11 GPIO_ACTIVE_HIGH>;
	};

	/*sensors {
		 compatible = "zmk,keymap-sensors";
		 sensors = <&left_encoder>;
	};*/

	left_encoder: encoder_left {
        compatible = "alps,ec11";
        label = "LEFT_ENCODER";
        a-gpios = <&gpio1 0 (GPIO_ACTIVE_HIGH | GPIO_PULL_UP)>;
        b-gpios = <&gpio1 6 (GPIO_ACTIVE_HIGH | GPIO_PULL_UP)>;
        resolution = <4>;
        status = "okay";
    };

	vbatt {
		compatible = "zmk,battery-voltage-divider";
		label = "BATTERY";
		io-channels = <&adc 2>;
		output-ohms = <2000000>;
		full-ohms = <(2000000 + 806000)>;
	};
};

&adc {
	status = "okay";
};

&gpiote {
	status = "okay";
};

&gpio0 {
	status = "okay";
};

&gpio1 {
	status = "okay";
};

&i2c0 {
	compatible = "nordic,nrf-twi";
	sda-pin = <17>;
	scl-pin = <20>;
};

&uart0 {
	compatible = "nordic,nrf-uarte";
	tx-pin = <6>;
	rx-pin = <8>;
};

&usbd {
	status = "okay";
};


&flash0 {
	/*
	 * For more information, see:
	 * http://docs.zephyrproject.org/latest/devices/dts/flash_partitions.html
	 */
	partitions {
		compatible = "fixed-partitions";
		#address-cells = <1>;
		#size-cells = <1>;

		sd_partition: partition@0 {
			label = "softdevice";
			reg = <0x00000000 0x00026000>;
		};
		code_partition: partition@26000 {
			label = "code_partition";
			reg = <0x00026000 0x000c6000>;
		};

		/*
		 * The flash starting at 0x000ec000 and ending at
		 * 0x000f3fff is reserved for use by the application.
		 */

		/*
		 * Storage partition will be used by FCB/LittleFS/NVS
		 * if enabled.
		 */
		storage_partition: partition@ec000 {
			label = "storage";
			reg = <0x000ec000 0x00008000>;
		};

		boot_partition: partition@f4000 {
			label = "adafruit_boot";
			reg = <0x000f4000 0x0000c000>;
		};
	};
};

/*
	&spi1 {
	encoder0 : encoder {
		compatible = "magalpha,ma730";
		label = "KNOB";

		reg = <0>;
    spi-max-frequency = <25000000>;


		resolution = <8>; //degrees per keypress
	};
	cs-gpios = <&gpioa 4 GPIO_ACTIVE_LOW>;
};
*/

&spi2 {
	compatible = "nordic,nrf-spim";
	status = "okay";
	mosi-pin = <5>;
	// Unused pins, needed for SPI definition, but not used by the ws2812 driver itself.
	sck-pin = <6>;
	miso-pin = <7>;

  led_strip: ws2812@0 {
    compatible = "worldsemi,ws2812-spi";
    label = "WS2812";

    /* SPI */
    reg = <0>;
    spi-max-frequency = <4000000>;

    /* WS2812 */
    chain-length = <3>; /* number of LEDs */
    spi-one-frame = <0x70>;
    spi-zero-frame = <0x40>;
  };
	status = "okay";
};
```

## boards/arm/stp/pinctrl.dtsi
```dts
/*
 * Copyright (c) 2022 The ZMK Contributors
 * SPDX-License-Identifier: MIT
 */

&pinctrl {
    spi3_default: spi3_default {
        group1 {
            psels = <NRF_PSEL(SPIM_MOSI, 0, 20)>;
        };
    };

    spi3_sleep: spi3_sleep {
        group1 {
            psels = <NRF_PSEL(SPIM_MOSI, 0, 20)>;
            low-power-enable;
        };
    };
    pwm0_default: pwm0_default {
        group1 {
            psels = <NRF_PSEL(PWM_OUT0, 0, 17)>;
        };
    };
    pwm0_sleep: pwm0_sleep {
        group1 {
            psels = <NRF_PSEL(PWM_OUT0, 0, 17)>;
            low-power-enable;
        };
    };
  i2c1_default: i2c1_default {
        group1 {
            psels = <NRF_PSEL(TWIM_SCL, 0, 6)>,
                    <NRF_PSEL(TWIM_SDA, 0, 8)>;
        };
    };

    i2c1_sleep: i2c1_sleep {
        group1 {
            psels = <NRF_PSEL(TWIM_SCL, 0, 6)>,
                    <NRF_PSEL(TWIM_SDA, 0, 8)>;
            low-power-enable;
        };
    };
};
```

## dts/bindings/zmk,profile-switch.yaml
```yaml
# Copyright (c) 2020 The ZMK Contributors
# SPDX-License-Identifier: MIT

description: |
  Generic driver for controlling the bluetooth profile on the
  switch-gpio pin status
  (Only in supported hardware)

compatible: "zmk,profile-switch"

properties:
  switch-gpios:
    type: phandle-array
    required: true
```

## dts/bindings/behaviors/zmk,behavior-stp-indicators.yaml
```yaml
# Copyright (c) 2020 The ZMK Contributors
# SPDX-License-Identifier: MIT

description: RGB indicators

compatible: "zmk,behavior-stp-indicators"

include: one_param.yaml
```

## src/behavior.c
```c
/*
 * Copyright (c) 2023 The ZMK Contributors
 *
 * SPDX-License-Identifier: MIT
 */

#include <zephyr/device.h>
#include <zephyr/init.h>
#include <zephyr/sys/crc.h>
#include <zephyr/sys/util_macro.h>
#include <string.h>

#if IS_ENABLED(CONFIG_ZMK_BEHAVIOR_LOCAL_IDS) &&                                                   \
    IS_ENABLED(CONFIG_ZMK_BEHAVIOR_LOCAL_ID_TYPE_SETTINGS_TABLE)

#include <zephyr/settings/settings.h>

#endif

#include <zmk/ble.h>
#if ZMK_BLE_IS_CENTRAL
#include <zmk/split/bluetooth/central.h>
#endif

#include <drivers/behavior.h>
#include <zmk/behavior.h>
#include <zmk/hid.h>
#include <zmk/matrix.h>

#include <zmk/events/position_state_changed.h>

#include <zephyr/logging/log.h>
LOG_MODULE_DECLARE(zmk, CONFIG_ZMK_LOG_LEVEL);

const struct device *zmk_behavior_get_binding(const char *name) {
    return behavior_get_binding(name);
}

const struct device *z_impl_behavior_get_binding(const char *name) {
    if (name == NULL || name[0] == '\0') {
        return NULL;
    }

    STRUCT_SECTION_FOREACH(zmk_behavior_ref, item) {
        if (z_device_is_ready(item->device) && item->device->name == name) {
            return item->device;
        }
    }

    STRUCT_SECTION_FOREACH(zmk_behavior_ref, item) {
        if (z_device_is_ready(item->device) && strcmp(item->device->name, name) == 0) {
            return item->device;
        }
    }

    return NULL;
}

static int invoke_locally(struct zmk_behavior_binding *binding,
                          struct zmk_behavior_binding_event event, bool pressed) {
    if (pressed) {
        return behavior_keymap_binding_pressed(binding, event);
    } else {
        return behavior_keymap_binding_released(binding, event);
    }
}

int zmk_behavior_invoke_binding(const struct zmk_behavior_binding *src_binding,
                                struct zmk_behavior_binding_event event, bool pressed) {
    // We want to make a copy of this, since it may be converted from
    // relative to absolute before being invoked
    struct zmk_behavior_binding binding = *src_binding;

    const struct device *behavior = zmk_behavior_get_binding(binding.behavior_dev);

    if (!behavior) {
        behavior = (const void *)zmk_behavior_get_binding("TRANS");
        if (!behavior) {
            behavior = (const void *)zmk_behavior_get_binding("trans");
            if (!behavior) {
                LOG_WRN("No behavior assigned to %d on layer %d and no trans found", event.position,
                        event.layer);
                return 1;
            }
        }
    }

    int err = behavior_keymap_binding_convert_central_state_dependent_params(&binding, event);
    if (err) {
        LOG_ERR("Failed to convert relative to absolute behavior binding (err %d)", err);
        return err;
    }

    enum behavior_locality locality = BEHAVIOR_LOCALITY_CENTRAL;
    err = behavior_get_locality(behavior, &locality);
    if (err) {
        LOG_ERR("Failed to get behavior locality %d", err);
        return err;
    }

    switch (locality) {
    case BEHAVIOR_LOCALITY_CENTRAL:
        return invoke_locally(&binding, event, pressed);
    case BEHAVIOR_LOCALITY_EVENT_SOURCE:
#if ZMK_BLE_IS_CENTRAL // source is a member of event because CONFIG_ZMK_SPLIT is enabled
        if (event.source == ZMK_POSITION_STATE_CHANGE_SOURCE_LOCAL) {
            return invoke_locally(&binding, event, pressed);
        } else {
            return zmk_split_bt_invoke_behavior(event.source, &binding, event, pressed);
        }
#else
        return invoke_locally(&binding, event, pressed);
#endif
    case BEHAVIOR_LOCALITY_GLOBAL:
#if ZMK_BLE_IS_CENTRAL
        for (int i = 0; i < ZMK_SPLIT_BLE_PERIPHERAL_COUNT; i++) {
            zmk_split_bt_invoke_behavior(i, &binding, event, pressed);
        }
#endif
        return invoke_locally(&binding, event, pressed);
    }

    return -ENOTSUP;
}

#if IS_ENABLED(CONFIG_ZMK_BEHAVIOR_METADATA)

int zmk_behavior_get_empty_param_metadata(const struct device *dev,
                                          struct behavior_parameter_metadata *metadata) {
    metadata->sets_len = 0;
    return 0;
}

#endif // IS_ENABLED(CONFIG_ZMK_BEHAVIOR_METADATA)

#if IS_ENABLED(CONFIG_ZMK_BEHAVIOR_METADATA)
static int validate_hid_usage(uint16_t usage_page, uint16_t usage_id) {
    LOG_DBG("Validate usage %d in page %d", usage_id, usage_page);
    switch (usage_page) {
    case HID_USAGE_KEY:
        if (usage_id == 0 || (usage_id > ZMK_HID_KEYBOARD_NKRO_MAX_USAGE &&
                              usage_id < LEFT_CONTROL && usage_id > RIGHT_GUI)) {
            return -EINVAL;
        }
        break;
    case HID_USAGE_CONSUMER:
        if (usage_id >
            COND_CODE_1(IS_ENABLED(CONFIG_ZMK_HID_CONSUMER_REPORT_USAGES_BASIC), (0xFF), (0xFFF))) {
            return -EINVAL;
        }
        break;
    default:
        LOG_WRN("Unsupported HID usage page %d", usage_page);
        return -EINVAL;
    }

    return 0;
}

#define PARAM_MATCHES 0

static int check_param_matches_value(const struct behavior_parameter_value_metadata *value_meta,
                                     uint32_t param) {
    switch (value_meta->type) {
    case BEHAVIOR_PARAMETER_VALUE_TYPE_NIL:
        if (param == 0) {
            return PARAM_MATCHES;
        }
        break;
    case BEHAVIOR_PARAMETER_VALUE_TYPE_HID_USAGE:
        if (validate_hid_usage(ZMK_HID_USAGE_PAGE(param), ZMK_HID_USAGE_ID(param)) >= 0) {
            return PARAM_MATCHES;
        }

        break;
    case BEHAVIOR_PARAMETER_VALUE_TYPE_LAYER_ID:
        if (param >= 0 && param < ZMK_KEYMAP_LEN) {
            return PARAM_MATCHES;
        }
        break;
        /* TODO: Restore with HSV -> RGB refactor
        case BEHAVIOR_PARAMETER_STANDARD_DOMAIN_HSV:
            // TODO: No real way to validate? Maybe max brightness?
            break;
        */
    case BEHAVIOR_PARAMETER_VALUE_TYPE_VALUE:
        if (param == value_meta->value) {
            return PARAM_MATCHES;
        }
        break;
    case BEHAVIOR_PARAMETER_VALUE_TYPE_RANGE:
        if (param >= value_meta->range.min && param <= value_meta->range.max) {
            return PARAM_MATCHES;
        }
        break;
    default:
        LOG_WRN("Unknown type %d", value_meta->type);
        break;
    }

    return -ENOTSUP;
}

int zmk_behavior_validate_param_values(const struct behavior_parameter_value_metadata *values,
                                       size_t values_len, uint32_t param) {
    if (values_len == 0) {
        return -ENODEV;
    }

    for (int v = 0; v < values_len; v++) {
        int ret = check_param_matches_value(&values[v], param);
        if (ret >= 0) {
            return ret;
        }
    }

    return -EINVAL;
}

int zmk_behavior_check_params_match_metadata(const struct behavior_parameter_metadata *metadata,
                                             uint32_t param1, uint32_t param2) {
    if (!metadata || metadata->sets_len == 0) {
        if (!metadata) {
            LOG_ERR("No metadata to check against");
        }

        return (param1 == 0 && param2 == 0) ? 0 : -ENODEV;
    }

    for (int s = 0; s < metadata->sets_len; s++) {
        const struct behavior_parameter_metadata_set *set = &metadata->sets[s];
        int param1_ret =
            zmk_behavior_validate_param_values(set->param1_values, set->param1_values_len, param1);
        int param2_ret =
            zmk_behavior_validate_param_values(set->param2_values, set->param2_values_len, param2);

        if ((param1_ret >= 0 || (param1_ret == -ENODEV && param1 == 0)) &&
            (param2_ret >= 0 || (param2_ret == -ENODEV && param2 == 0))) {
            return 0;
        }
    }

    return -EINVAL;
}

#endif // IS_ENABLED(CONFIG_ZMK_BEHAVIOR_METADATA)

int zmk_behavior_validate_binding(const struct zmk_behavior_binding *binding) {
#if IS_ENABLED(CONFIG_ZMK_BEHAVIOR_METADATA)
    const struct device *behavior = zmk_behavior_get_binding(binding->behavior_dev);

    if (!behavior) {
        return -ENODEV;
    }

    struct behavior_parameter_metadata metadata;
    int ret = behavior_get_parameter_metadata(behavior, &metadata);

    if (ret < 0) {
        LOG_WRN("Failed getting metadata for %s: %d", binding->behavior_dev, ret);
        return ret;
    }

    return zmk_behavior_check_params_match_metadata(&metadata, binding->param1, binding->param2);
#else
    return 0;
#endif // IS_ENABLED(CONFIG_ZMK_BEHAVIOR_METADATA)
}

#if IS_ENABLED(CONFIG_ZMK_BEHAVIOR_LOCAL_IDS)

zmk_behavior_local_id_t zmk_behavior_get_local_id(const char *name) {
    if (!name) {
        return UINT16_MAX;
    }

    STRUCT_SECTION_FOREACH(zmk_behavior_local_id_map, item) {
        if (z_device_is_ready(item->device) && strcmp(item->device->name, name) == 0) {
            return item->local_id;
        }
    }

    return UINT16_MAX;
}

const char *zmk_behavior_find_behavior_name_from_local_id(zmk_behavior_local_id_t local_id) {
    STRUCT_SECTION_FOREACH(zmk_behavior_local_id_map, item) {
        if (z_device_is_ready(item->device) && item->local_id == local_id) {
            return item->device->name;
        }
    }

    return NULL;
}

#if IS_ENABLED(CONFIG_ZMK_BEHAVIOR_LOCAL_ID_TYPE_CRC16)

static int behavior_local_id_init(void) {
    STRUCT_SECTION_FOREACH(zmk_behavior_local_id_map, item) {
        item->local_id = crc16_ansi(item->device->name, strlen(item->device->name));
    }

    return 0;
}

SYS_INIT(behavior_local_id_init, APPLICATION, CONFIG_APPLICATION_INIT_PRIORITY);

#elif IS_ENABLED(CONFIG_ZMK_BEHAVIOR_LOCAL_ID_TYPE_SETTINGS_TABLE)

static zmk_behavior_local_id_t largest_local_id = 0;

static int behavior_handle_set(const char *name, size_t len, settings_read_cb read_cb,
                               void *cb_arg) {
    const char *next;

    if (settings_name_steq(name, "local_id", &next) && next) {
        char *endptr;
        zmk_behavior_local_id_t local_id = strtoul(next, &endptr, 10);
        if (*endptr != '\0') {
            LOG_WRN("Invalid behavior local ID: %s with endptr %s", next, endptr);
            return -EINVAL;
        }

        if (len >= 64) {
            LOG_ERR("Too large binding setting size (got %d expected less than %d)", len, 64);
            return -EINVAL;
        }

        char name[len + 1];

        int err = read_cb(cb_arg, name, len);
        if (err <= 0) {
            LOG_ERR("Failed to handle keymap binding from settings (err %d)", err);
            return err;
        }

        name[len] = '\0';
        STRUCT_SECTION_FOREACH(zmk_behavior_local_id_map, item) {
            if (strcmp(name, item->device->name) == 0) {
                item->local_id = local_id;
                largest_local_id = MAX(largest_local_id, local_id);
                return 0;
            }
        }

        return -EINVAL;
    }

    return 0;
}

static int behavior_handle_commit(void) {
    STRUCT_SECTION_FOREACH(zmk_behavior_local_id_map, item) {
        if (item->local_id != 0) {
            continue;
        }

        if (!item->device || !item->device->name || !device_is_ready(item->device)) {
            LOG_WRN("Skipping ID for device that doesn't exist or isn't ready");
            continue;
        }

        item->local_id = ++largest_local_id;
        char setting_name[32];
        sprintf(setting_name, "behavior/local_id/%d", item->local_id);

        // If the `device->name` is readonly in flash, settings save can fail to copy/read it while
        // persisting to flash, so copy the device name into memory first before saving.
        char device_name[32];
        snprintf(device_name, ARRAY_SIZE(device_name), "%s", item->device->name);

        settings_save_one(setting_name, device_name, strlen(device_name));
    }

    return 0;
}

SETTINGS_STATIC_HANDLER_DEFINE(behavior, "behavior", NULL, behavior_handle_set,
                               behavior_handle_commit, NULL);

#else

#error "A behavior local ID mechanism must be selected"

#endif

#endif

#if IS_ENABLED(CONFIG_LOG)
static int check_behavior_names(void) {
    // Behavior names must be unique, but we don't have a good way to enforce this
    // at compile time, so log an error at runtime if they aren't unique.
    ptrdiff_t count;
    STRUCT_SECTION_COUNT(zmk_behavior_ref, &count);

    for (ptrdiff_t i = 0; i < count; i++) {
        const struct zmk_behavior_ref *current;
        STRUCT_SECTION_GET(zmk_behavior_ref, i, &current);

        for (ptrdiff_t j = i + 1; j < count; j++) {
            const struct zmk_behavior_ref *other;
            STRUCT_SECTION_GET(zmk_behavior_ref, j, &other);

            if (strcmp(current->device->name, other->device->name) == 0) {
                LOG_ERR("Multiple behaviors have the same name '%s'", current->device->name);
            }
        }
    }

    return 0;
}

SYS_INIT(check_behavior_names, APPLICATION, CONFIG_APPLICATION_INIT_PRIORITY);
#endif // IS_ENABLED(CONFIG_LOG)
```
